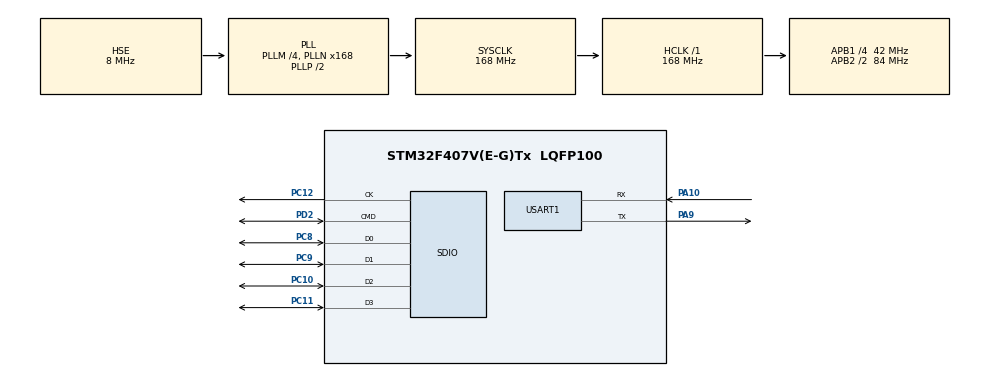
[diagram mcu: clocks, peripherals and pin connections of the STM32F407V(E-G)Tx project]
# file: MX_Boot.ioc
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Mcu.Family=STM32F4
Mcu.Name=STM32F407V(E-G)Tx
Mcu.Package=LQFP100
NVIC.PriorityGroup=NVIC_PRIORITYGROUP_4
PA10.Mode=Asynchronous
PA10.Signal=USART1_RX
PA13.Mode=Serial_Wire
PA13.Signal=SYS_JTMS-SWDIO
PA14.Mode=Serial_Wire
PA14.Signal=SYS_JTCK-SWCLK
PA9.Mode=Asynchronous
PA9.Signal=USART1_TX
PC10.Mode=SD_4_bits_Wide_bus
PC10.Signal=SDIO_D2
PC11.Mode=SD_4_bits_Wide_bus
PC11.Signal=SDIO_D3
PC12.Mode=SD_4_bits_Wide_bus
PC12.Signal=SDIO_CK
PC8.Mode=SD_4_bits_Wide_bus
PC8.Signal=SDIO_D0
PC9.Mode=SD_4_bits_Wide_bus
PC9.Signal=SDIO_D1
PD2.Mode=SD_4_bits_Wide_bus
PD2.Signal=SDIO_CMD
PH0-OSC_IN.Mode=HSE-External-Oscillator
PH0-OSC_IN.Signal=RCC_OSC_IN
PH1-OSC_OUT.Mode=HSE-External-Oscillator
PH1-OSC_OUT.Signal=RCC_OSC_OUT
ProjectManager.HeapSize=0x200
ProjectManager.StackSize=0x400
ProjectManager.TargetToolchain=MDK-ARM V5.32
RCC.48MHZClocksFreq_Value=48000000
RCC.AHBFreq_Value=168000000
RCC.APB1CLKDivider=RCC_HCLK_DIV4
RCC.APB1Freq_Value=42000000
RCC.APB1TimFreq_Value=84000000
RCC.APB2CLKDivider=RCC_HCLK_DIV2
RCC.APB2Freq_Value=84000000
RCC.APB2TimFreq_Value=168000000
RCC.CortexFreq_Value=168000000
RCC.HCLKFreq_Value=168000000
RCC.HSE_VALUE=8000000
RCC.HSI_VALUE=16000000
RCC.LSE_VALUE=32768
RCC.PLLM=4
RCC.PLLN=168
RCC.PLLQ=7
RCC.PLLSourceVirtual=RCC_PLLSOURCE_HSE
RCC.SYSCLKFreq_VALUE=168000000
RCC.SYSCLKSource=RCC_SYSCLKSOURCE_PLLCLK
RCC.VCOOutputFreq_Value=336000000
SDIO.ClockDiv=22
USART1.VirtualMode=VM_ASYNC
VP_FATFS_VS_SDIO.Mode=SDIO
board=custom

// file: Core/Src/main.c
/* USER CODE BEGIN Header */
/**
  ******************************************************************************
  * @file           : main.c
  * @brief          : Main program body
  ******************************************************************************
  * @attention
  *
  * Copyright (c) 2025 STMicroelectronics.
  * All rights reserved.
  *
  * This software is licensed under terms that can be found in the LICENSE file
  * in the root directory of this software component.
  * If no LICENSE file comes with this software, it is provided AS-IS.
  *
  ******************************************************************************
  */
/* USER CODE END Header */
#include "main.h"
#include "fatfs.h"
#include "sdio.h"
#include "usart.h"
#include "gpio.h"

/* USER CODE BEGIN Includes */
#include "test.h"
/* USER CODE END Includes */

/* USER CODE BEGIN PTD */
#define WAIT_TIME_MS    3000    // 等待时间3秒
#define ENTER_BUFFER_SIZE     2       // 接收缓冲区大小
extern ring_buffer rx_buf;
/* USER CODE END PTD */

void SystemClock_Config(void);

int main(void)
{

  /* MCU Configuration--------------------------------------------------------*/

  /* Reset of all peripherals, Initializes the Flash interface and the Systick. */
  HAL_Init();

  /* Configure the system clock */
  SystemClock_Config();

  /* Initialize all configured peripherals */
  MX_GPIO_Init();
  MX_USART1_UART_Init();
  MX_SDIO_SD_Init();
  MX_FATFS_Init();
  W25Q128_Init();

  /* USER CODE BEGIN 2 */

//while(1);
  printf("\r\n=== Bootloader Started ===\r\n");
  printf("Press ENTER within 3s to enter shell...\r\n");

  /* 初始化变量 */
  uint32_t startTime = HAL_GetTick();
  uint32_t lastSecond = 3;
  uint8_t rxBuffer[ENTER_BUFFER_SIZE] = {0};
  uint8_t rxCount = 0;

  /* 等待3秒内的输入 */
  while((HAL_GetTick() - startTime) < WAIT_TIME_MS)
  {
      /* 显示倒计时 */
      uint32_t currentSecond = 3 - ((HAL_GetTick() - startTime) / 1000);
      if(currentSecond != lastSecond)
      {
          printf("\r\nPress ENTER within %ds to enter shell...\r\n", currentSecond);
          lastSecond = currentSecond;
      }
      /* 接收单个字符 */
      unsigned char c;
      if (ring_buffer_read(&c, &rx_buf) == 0)
      {
          /* 检测到回车键 */
          if(c == '\r' || c == '\n')
          {
              printf("\r\nEntering shell mode...\r\n");
              shell();
              while(1);  // 进入shell后不返回
          }
      }

  }

  /* 超时后启动应用程序 */
  printf("\r\nTimeout, starting application...\r\n");
  Boot_ManageStart();
  /* USER CODE END 2 */

  /* Infinite loop */
  while (1)
  {

  }
}

void SystemClock_Config(void)
{
  RCC_OscInitTypeDef RCC_OscInitStruct = {0};
  RCC_ClkInitTypeDef RCC_ClkInitStruct = {0};

  /** Configure the main internal regulator output voltage
  */
  __HAL_RCC_PWR_CLK_ENABLE();
  __HAL_PWR_VOLTAGESCALING_CONFIG(PWR_REGULATOR_VOLTAGE_SCALE1);

  /** Initializes the RCC Oscillators according to the specified parameters
  * in the RCC_OscInitTypeDef structure.
  */
  RCC_OscInitStruct.OscillatorType = RCC_OSCILLATORTYPE_HSE;
  RCC_OscInitStruct.HSEState = RCC_HSE_ON;
  RCC_OscInitStruct.PLL.PLLState = RCC_PLL_ON;
  RCC_OscInitStruct.PLL.PLLSource = RCC_PLLSOURCE_HSE;
  RCC_OscInitStruct.PLL.PLLM = 4;
  RCC_OscInitStruct.PLL.PLLN = 168;
  RCC_OscInitStruct.PLL.PLLP = RCC_PLLP_DIV2;
  RCC_OscInitStruct.PLL.PLLQ = 4;
  if (HAL_RCC_OscConfig(&RCC_OscInitStruct) != HAL_OK)
  {
    Error_Handler();
  }

  /** Initializes the CPU, AHB and APB buses clocks
  */
  RCC_ClkInitStruct.ClockType = RCC_CLOCKTYPE_HCLK|RCC_CLOCKTYPE_SYSCLK
                              |RCC_CLOCKTYPE_PCLK1|RCC_CLOCKTYPE_PCLK2;
  RCC_ClkInitStruct.SYSCLKSource = RCC_SYSCLKSOURCE_PLLCLK;
  RCC_ClkInitStruct.AHBCLKDivider = RCC_SYSCLK_DIV1;
  RCC_ClkInitStruct.APB1CLKDivider = RCC_HCLK_DIV4;
  RCC_ClkInitStruct.APB2CLKDivider = RCC_HCLK_DIV2;

  if (HAL_RCC_ClockConfig(&RCC_ClkInitStruct, FLASH_LATENCY_5) != HAL_OK)
  {
    Error_Handler();
  }
}

void Error_Handler(void)
{
  __disable_irq();
  while (1)
  {
  }
}
